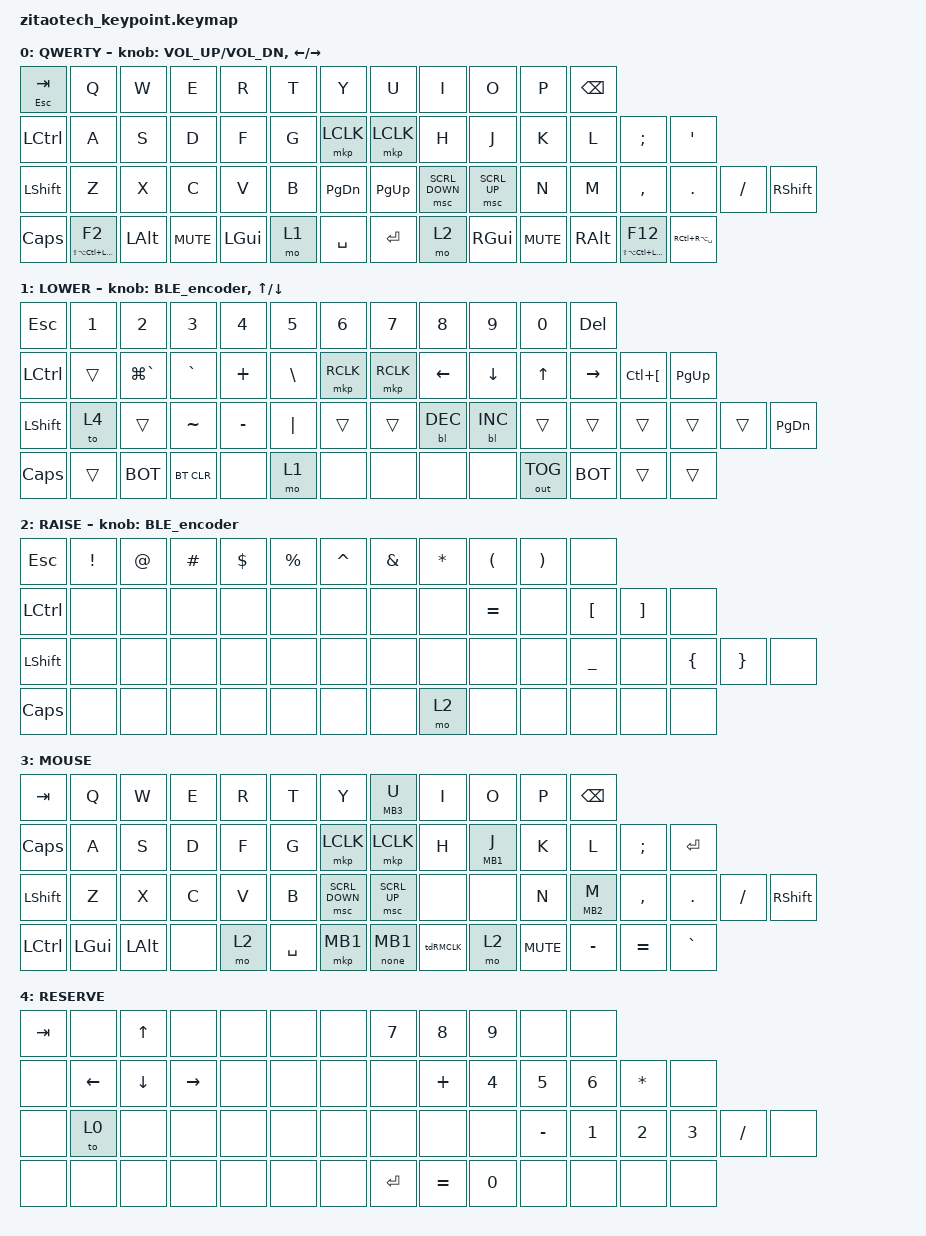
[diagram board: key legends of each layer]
/*
 * Copyright (c) 2025 ZitaoTech
 *
 * SPDX-License-Identifier: MIT
 */

#include <dt-bindings/zmk/mouse.h>
#include <behaviors.dtsi>
#include <dt-bindings/zmk/backlight.h>
#include <dt-bindings/zmk/bt.h>
#include <dt-bindings/zmk/keys.h>
#include <dt-bindings/zmk/outputs.h>
#include <dt-bindings/zmk/pointing.h>

#define LOWER 1
#define RAISE 2
#define MOUSE 3
#define BOT bootloader

/ {
    behaviors {
        td0: tap_dance_0 {
            compatible = "zmk,behavior-tap-dance";
            #binding-cells = <0>;
            tapping-term-ms = <400>;
            bindings = <&mkp LCLK>, <&bt BT_CLR>;
        };
    };

    behaviors {
        tdRMCLK: tap_dance_R_LMouse {
            compatible = "zmk,behavior-tap-dance";
            #binding-cells = <0>;
            tapping-term-ms = <400>;
            bindings = <&mkp RCLK>, <&mkp MCLK>;
        };
    };

    behaviors {
        hm: homerow_mods {
            compatible = "zmk,behavior-hold-tap";
            #binding-cells = <2>;
            tapping-term-ms = <200>;
            bindings = <&kp &kp>;
        };
    };

    behaviors {
        LMouse_sc: behavior_LMouse_Scroll {
            compatible = "zmk,behavior-hold-tap";
            #binding-cells = <2>;
            flavor = "tap-preferred";     /* 单击优先 */
            tapping-term-ms = <200>;       /* 长按阈值 */
            bindings = <&none &mkp>;        /* hold=none, tap=Lmouse */
        };
    };

    behaviors {
        M_kp: behavior_mouse_keypress {
            compatible = "zmk,behavior-hold-tap";
            #binding-cells = <2>;
            flavor = "tap-preferred";     /* 单击优先 */
            tapping-term-ms = <200>;       /* 长按阈值 */
            bindings = <&mkp &kp>;        /* hold=mou key press, tap=key*/
        };
    };

    behaviors {
        BLE_encoder: BLE_encoder {
            compatible = "zmk,behavior-sensor-rotate";
            #sensor-binding-cells = <0>;
            bindings = <&bt BT_NXT>, <&bt BT_PRV>;
        };
    };

    keymap {
        compatible = "zmk,keymap";

        default_layer {
            display-name = "QWERTY";
            bindings = <
&mt ESC TAB  &kp Q                    &kp W     &kp E       &kp R     &kp T  &kp Y      &kp U      &kp I           &kp O         &kp P       &kp BSPC
&kp LCTRL    &kp A                    &kp S     &kp D       &kp F     &kp G  &mkp LCLK  &mkp LCLK  &kp H           &kp J         &kp K       &kp L     &kp SEMI                  &kp SQT
&kp LSHFT    &kp Z                    &kp X     &kp C       &kp V     &kp B  &kp PG_DN  &kp PG_UP  &msc SCRL_DOWN  &msc SCRL_UP  &kp N       &kp M     &kp COMMA                 &kp DOT            &kp FSLH  &kp RSHFT
&kp CAPS     &hm LS(LA(LC(LGUI))) F2  &kp LALT  &kp C_MUTE  &kp LGUI  &mo 1  &kp SPACE  &kp ENTER  &mo 2           &kp RGUI      &kp C_MUTE  &kp RALT  &hm LS(LA(LC(LGUI))) F12  &kp RC(RA(SPACE))
            >;

            sensor-bindings = <&inc_dec_kp C_VOL_UP C_VOL_DN &inc_dec_kp LEFT RIGHT>;
        };

        lower_layer {
            display-name = "LOWER";
            bindings = <
&kp ESC    &kp N1  &kp N2         &kp N3      &kp N4     &kp N5         &kp N6     &kp N7     &kp N8      &kp N9      &kp N0        &kp DEL
&kp LCTRL  &trans  &kp LG(GRAVE)  &kp GRAVE   &kp PLUS   &kp BACKSLASH  &mkp RCLK  &mkp RCLK  &kp LEFT    &kp DOWN    &kp UP        &kp RIGHT  &kp LC(LBKT)  &kp PAGE_UP
&kp LSHFT  &to 4   &trans         &kp TILDE   &kp MINUS  &kp PIPE       &trans     &trans     &bl BL_DEC  &bl BL_INC  &trans        &trans     &trans        &trans       &trans  &kp PAGE_DOWN
&kp CAPS   &trans  &BOT           &bt BT_CLR  &none      &mo 1          &none      &none      &none       &none       &out OUT_TOG  &BOT       &trans        &trans
            >;

            sensor-bindings = <&BLE_encoder &inc_dec_kp UP DOWN>;
        };

        raise_layer {
            display-name = "RAISE";
            bindings = <
&kp ESC    &kp EXCL  &kp AT  &kp HASH  &kp DLLR  &kp PRCNT  &kp CARET  &kp AMPS  &kp STAR  &kp LPAR   &kp RPAR  &none
&kp LCTRL  &none     &none   &none     &none     &none      &none      &none     &none     &kp EQUAL  &none     &kp LBKT   &kp RBKT  &none
&kp LSHFT  &none     &none   &none     &none     &none      &none      &none     &none     &none      &none     &kp UNDER  &none     &kp LBRC  &kp RBRC  &none
&kp CAPS   &none     &none   &none     &none     &none      &none      &none     &mo 2     &none      &none     &none      &none     &none
            >;

            sensor-bindings = <&BLE_encoder>;
        };

        MOUSE_layer {
            display-name = "MOUSE";
            bindings = <
&kp TAB    &kp Q     &kp W     &kp E  &kp R  &kp T      &kp Y           &M_kp MB3 U       &kp I     &kp O        &kp P       &kp BSPC
&kp CAPS   &kp A     &kp S     &kp D  &kp F  &kp G      &mkp LCLK       &mkp LCLK         &kp H     &M_kp MB1 J  &kp K       &kp L        &kp SEMI   &kp ENTER
&kp LSHFT  &kp Z     &kp X     &kp C  &kp V  &kp B      &msc SCRL_DOWN  &msc SCRL_UP      &none     &none        &kp N       &M_kp MB2 M  &kp COMMA  &kp DOT    &kp FSLH  &kp RSHFT
&kp LCTRL  &kp LGUI  &kp LALT  &none  &mo 2  &kp SPACE  &mkp MB1        &LMouse_sc 0 MB1  &tdRMCLK  &mo 2        &kp C_MUTE  &kp MINUS    &kp EQUAL  &kp GRAVE
            >;
        };

        RES_layer {
            display-name = "RESERVE";
            bindings = <
&kp TAB  &none     &kp UP    &none      &none  &none  &none  &kp N7     &kp N8     &kp N9  &none      &none
&none    &kp LEFT  &kp DOWN  &kp RIGHT  &none  &none  &none  &none      &kp PLUS   &kp N4  &kp N5     &kp N6  &kp STAR  &none
&none    &to 0     &none     &none      &none  &none  &none  &none      &none      &none   &kp MINUS  &kp N1  &kp N2    &kp N3  &kp SLASH  &none
&none    &none     &none     &none      &none  &none  &none  &kp ENTER  &kp EQUAL  &kp N0  &none      &none   &none     &none
            >;
        };
    };
};
